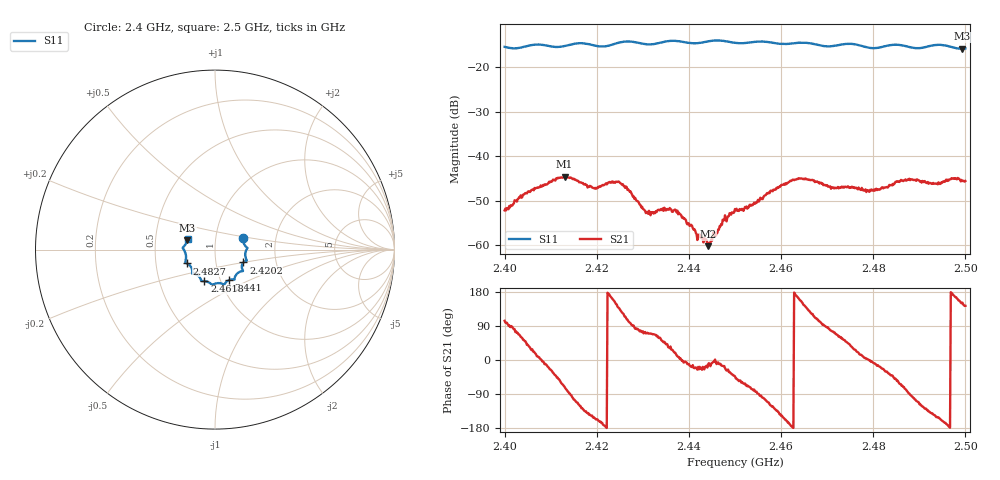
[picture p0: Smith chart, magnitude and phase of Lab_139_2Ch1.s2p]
# Hz S RI R 50
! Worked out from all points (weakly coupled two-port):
!   601 points, 2.4 GHz to 2.5 GHz, reference 50 ohm
!   highest |S21| = -44.58 dB at 2.413 GHz (marker M1); lowest = -60.2 dB at 2.4442 GHz (marker M2)
!   lowest |S11| = -15.8 dB at 2.4993 GHz (marker M3), VSWR 1.39, Z = 36.5 + j3.84 ohm
!   |S11| at or under -10 dB: start of sweep to end of sweep
!   S12 and S22 are empty: the file has one direction only
!   S11 on the Smith chart (normalised r, x): 2.4 GHz: 1.36, +0.18; 2.4202 GHz: 1.36, -0.20; 2.441 GHz: 1.10, -0.39; 2.4618 GHz: 0.84, -0.30; 2.4827 GHz: 0.72, -0.12; 2.5 GHz: 0.73, +0.09
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2.4e9  0.1586 0.0627  -0.000572 0.0024  0 0  0 0
2.404667e9  0.1725 0.0155  0.00266 0.00277  0 0  0 0
2.413e9  0.1697 -0.0394  0.00195 -0.00557  0 0  0 0
2.416667e9  0.1772 -0.0612  -0.00305 -0.00403  0 0  0 0
2.420167e9  0.1585 -0.0713  -0.00404 -0.00172  0 0  0 0
2.424667e9  0.1533 -0.1113  -0.00389 0.00344  0 0  0 0
2.430667e9  0.1299 -0.1283  0.000779 0.00216  0 0  0 0
2.433333e9  0.1116 -0.1509  0.00128 0.00215  0 0  0 0
2.437333e9  0.1066 -0.1677  0.00228 0.0005  0 0  0 0
2.441e9  0.0786 -0.1697  0.0014 -0.00052  0 0  0 0
2.444167e9  0.0547 -0.1888  0.000954 -0.000192  0 0  0 0
2.4475e9  0.046 -0.1937  0.00184 -0.000535  0 0  0 0
2.45e9  0.0286 -0.1873  0.00186 -0.00175  0 0  0 0
2.461833e9  -0.0593 -0.1754  -0.00509 -0.000982  0 0  0 0
2.466667e9  -0.0784 -0.1684  -0.00281 0.00462  0 0  0 0
2.471333e9  -0.1075 -0.1376  0.00118 0.0043  0 0  0 0
2.482667e9  -0.1559 -0.0773  0.00384 -0.00226  0 0  0 0
2.483333e9  -0.1602 -0.0753  0.00373 -0.00269  0 0  0 0
2.488e9  -0.1618 -0.0495  -0.000173 -0.00538  0 0  0 0
2.493167e9  -0.1781 0.00567  -0.00403 -0.00284  0 0  0 0
2.499333e9  -0.1541 0.0513  -0.00466 0.00252  0 0  0 0
2.5e9  -0.1523 0.0606  -0.00419 0.00318  0 0  0 0
